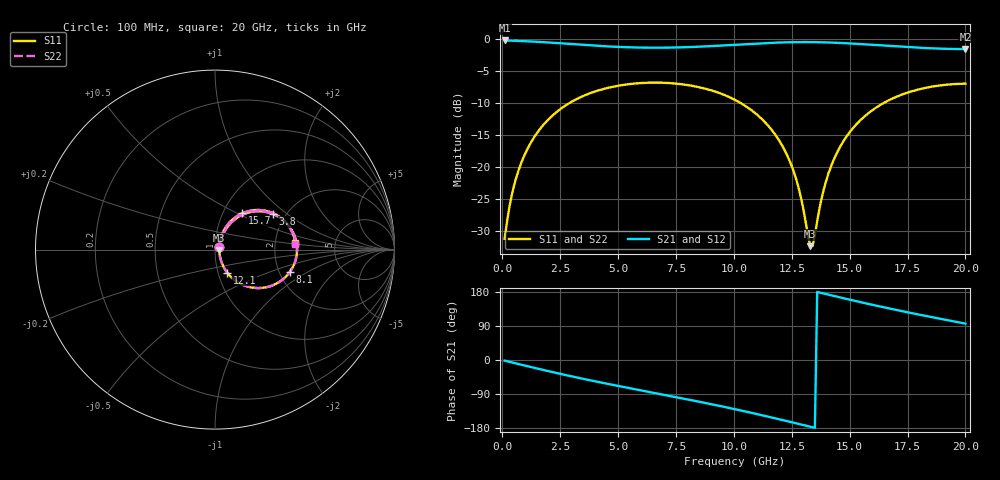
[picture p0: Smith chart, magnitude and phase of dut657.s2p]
! Touchstone file exported from HFSS 2026.1.0
!  File:  C:/ffzhzh/LocalFiles/Ansys_Project_Files/temp_train_TSV_RDL_657_1783130003_46604.aedt
!  Generated:  10:03:36 AM Jul  4, 2026
!  Design:  TSV_RDL
!  Project:  temp_train_TSV_RDL_657_1783130003_46604
! Variables:
!  h_bsmrdl = 2.02um
!  h_ox = 20um
!  h_rdl = 5um
!  h_sub = 50.4um
!  h_tmrdl = 4.93um
!  h_tsv = 50.4um
!  h_via = 3um
!  l_bsmrdl = 336.9um
!  l_sub = 4649.67um
!  l_tmrdl = 783.56um
!  m_sub = 200um
!  pitch = 38.39um
!  r_tsv = 12.18um
!  s_tmrdl = 10um
!  w_bsmrdl = 15.84um
!  w_sub = 500um
!  w_tmrdl = 19.07um
!  x_tsv_center1 = 793.095um
!  x_tsv_center2 = 1145.835um
!  x_tsv_center3 = 1948.465um
!  x_tsv_center4 = 2301.205um
!  x_tsv_center5 = 3103.835um
!  x_tsv_center6 = 3456.575um
# GHz S MA R 50.000000
! Terminal data exported
! Port[1] = TM_RDL1_1_T1
! Port[2] = TM_RDL5_1_T1
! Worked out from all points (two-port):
!   200 points, 100 MHz to 20 GHz, reference 50 ohm
!   highest |S21| = -0.21 dB at 100 MHz (marker M1); lowest = -1.6 dB at 20 GHz (marker M2)
!   |S21| within 3 dB of the highest: start of sweep to end of sweep
!   lowest |S11| = -32.4 dB at 13.3 GHz (marker M3), VSWR 1.05, Z = 52.4 - j0.519 ohm
!   |S11| at or under -10 dB: start of sweep to 2.895 GHz; 10.3 GHz to 16.46 GHz (6.161 GHz wide, 46 % of centre)
!   |S22| runs from -32.4 to -6.8 dB; largest |S21 - S12| = 1.6e-14
!   S11 on the Smith chart (normalised r, x): 100 MHz: 1.05, +0.03; 3.8 GHz: 1.71, +0.80; 8.1 GHz: 2.27, -0.71; 12.1 GHz: 1.11, -0.29; 15.7 GHz: 1.23, +0.53; 20 GHz: 2.60, +0.22
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0.1  0.0275 29.1  0.9762 -1.6  0.9762 -1.6  0.0275 29.1
! Gamma 0 0 0 0
! Port Impedance 50 0 50 0
0.5  0.07087 60.0  0.971 -7.7  0.971 -7.7  0.07087 60.0
1.2  0.1514 60.8  0.9597 -18.1  0.9597 -18.1  0.1514 60.8
2.2  0.2558 50.7  0.9361 -32.4  0.9361 -32.4  0.2558 50.7
3.5  0.3597 35.3  0.9009 -49.8  0.9009 -49.8  0.3597 35.3
3.8  0.3782 31.7  0.8934 -53.6  0.8934 -53.6  0.3782 31.7
5.3  0.4406 14.5  0.8652 -72.0  0.8652 -72.0  0.4406 14.5
6.8  0.4567 -2.3  0.857 -89.7  0.857 -89.7  0.4567 -2.3
8.1  0.4345 -16.9  0.8668 -105.2  0.8668 -105.2  0.4345 -16.9
10.1  0.3314 -40.2  0.9047 -130.5  0.9047 -130.5  0.3314 -40.2
11.2  0.2382 -53.2  0.9281 -145.5  0.9281 -145.5  0.2382 -53.2
12.1  0.1457 -62.0  0.9423 -158.4  0.9423 -158.4  0.1457 -62.0
12.8  0.06837 -61.2  0.9477 -168.6  0.9477 -168.6  0.06838 -61.2
13.3  0.02407 -11.9  0.9478 -176.0  0.9478 -176.0  0.02412 -11.8
13.4  0.0242 14.9  0.9474 -177.5  0.9474 -177.5  0.02425 14.9
13.8  0.05788 60.6  0.9446 176.6  0.9446 176.6  0.05791 60.6
14.3  0.1125 65.4  0.9385 169.3  0.9385 169.3  0.1125 65.4
14.9  0.1766 61.5  0.9278 160.7  0.9278 160.7  0.1766 61.4
15.7  0.2539 53.0  0.9095 149.5  0.9095 149.5  0.2539 53.0
16.7  0.3333 41.4  0.8845 136.2  0.8845 136.2  0.3333 41.4
18.3  0.4167 23.1  0.8508 116.1  0.8508 116.1  0.4167 23.1
20  0.4483 4.4  0.8358 96.0  0.8358 96.0  0.4483 4.3
